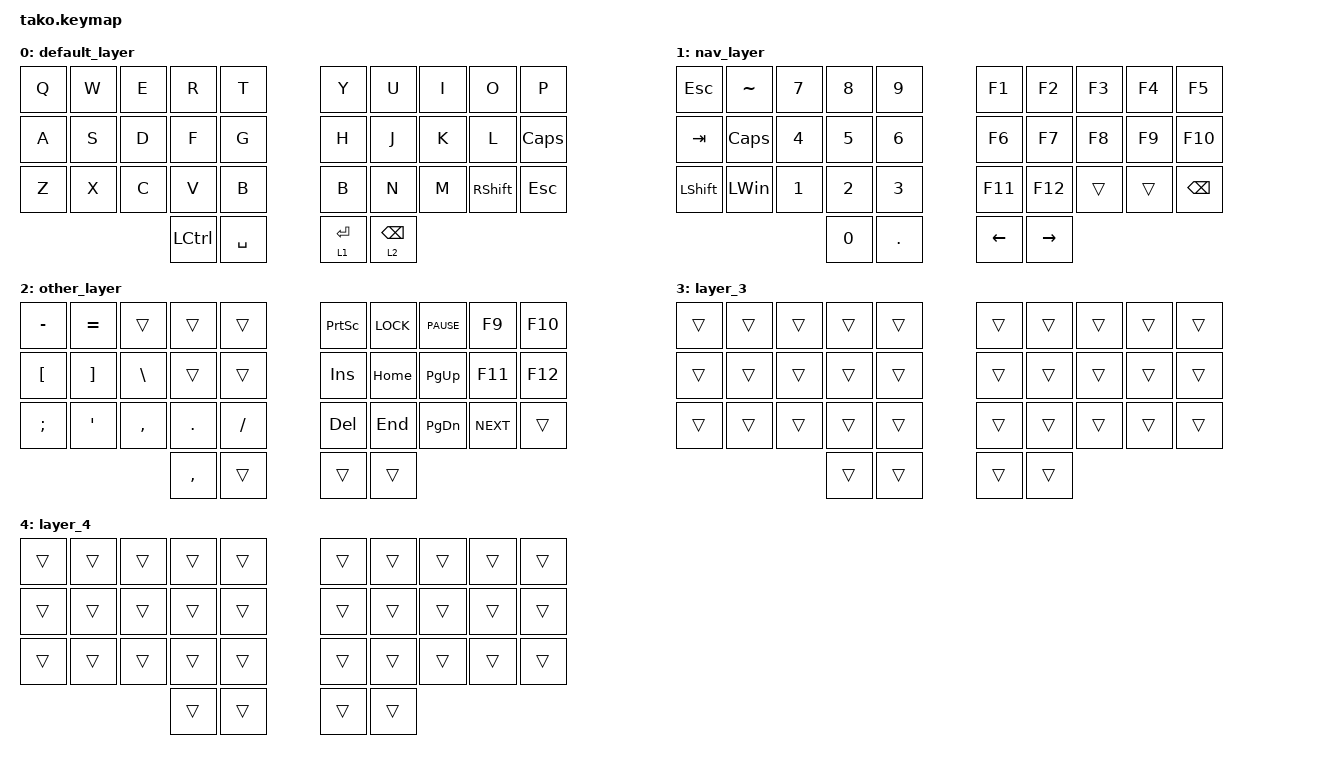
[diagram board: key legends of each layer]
/*
 * Copyright (c) 2020 The ZMK Contributors
 *
 * SPDX-License-Identifier: MIT
 */

#include <behaviors.dtsi>
#include <dt-bindings/zmk/keys.h>

#define NAV_L 1
#define OTHER_L 2
#define NUM_L 3
#define SYM_L 4

// Using layer taps on thumbs, having quick tap as well helps w/ repeating space/backspace

&lt { quick_tap_ms = <200>; };

/ {
    behaviors {
        hm: homerow_mods {
            compatible = "zmk,behavior-hold-tap";
            label = "homerow mods";
            #binding-cells = <2>;
            tapping_term_ms = <200>;
            flavor = "tap-preferred";
            bindings = <&kp>, <&kp>;
        };
    };

    combos { compatible = "zmk,combos"; };

    keymap {
        compatible = "zmk,keymap";

        default_layer {
            bindings = <
&kp Q  &kp W  &kp E  &kp R             &kp T        &kp Y        &kp U            &kp I  &kp O       &kp P
&kp A  &kp S  &kp D  &kp F             &kp G        &kp H        &kp J            &kp K  &kp L       &kp CAPSLOCK
&kp Z  &kp X  &kp C  &kp V             &kp B        &kp B        &kp N            &kp M  &kp RSHIFT  &kp ESC
                     &kp LEFT_CONTROL  &kp SPACE    &lt 1 ENTER  &lt 2 BACKSPACE
            >;
        };

        nav_layer {
            bindings = <
&kp ESC     &kp TILDE     &kp NUMBER_7  &kp NUMBER_8  &kp NUMBER_9    &kp F1          &kp F2           &kp F3  &kp F4  &kp F5
&kp TAB     &kp CAPSLOCK  &kp NUMBER_4  &kp NUMBER_5  &kp NUMBER_6    &kp F6          &kp F7           &kp F8  &kp F9  &kp F10
&kp LSHIFT  &kp LWIN      &kp NUMBER_1  &kp NUMBER_2  &kp NUMBER_3    &kp F11         &kp F12          &trans  &trans  &kp BACKSPACE
                                        &kp NUMBER_0  &kp PERIOD      &kp LEFT_ARROW  &kp RIGHT_ARROW
            >;
        };

        other_layer {
            bindings = <
&kp MINUS         &kp EQUAL          &trans         &trans      &trans       &kp PRINTSCREEN  &kp K_LOCK  &kp C_PAUSE  &kp F9      &kp F10
&kp LEFT_BRACKET  &kp RIGHT_BRACKET  &kp BACKSLASH  &trans      &trans       &kp INS          &kp HOME    &kp PG_UP    &kp F11     &kp F12
&kp SEMICOLON     &kp SINGLE_QUOTE   &kp COMMA      &kp PERIOD  &kp SLASH    &kp DEL          &kp END     &kp PG_DN    &kp C_NEXT  &trans
                                                    &kp COMMA   &trans       &trans           &trans
            >;
        };

        layer_3 {
            bindings = <
&trans  &trans  &trans  &trans  &trans    &trans  &trans  &trans  &trans  &trans
&trans  &trans  &trans  &trans  &trans    &trans  &trans  &trans  &trans  &trans
&trans  &trans  &trans  &trans  &trans    &trans  &trans  &trans  &trans  &trans
                        &trans  &trans    &trans  &trans
            >;
        };

        layer_4 {
            bindings = <
&trans  &trans  &trans  &trans  &trans    &trans  &trans  &trans  &trans  &trans
&trans  &trans  &trans  &trans  &trans    &trans  &trans  &trans  &trans  &trans
&trans  &trans  &trans  &trans  &trans    &trans  &trans  &trans  &trans  &trans
                        &trans  &trans    &trans  &trans
            >;
        };
    };
};
